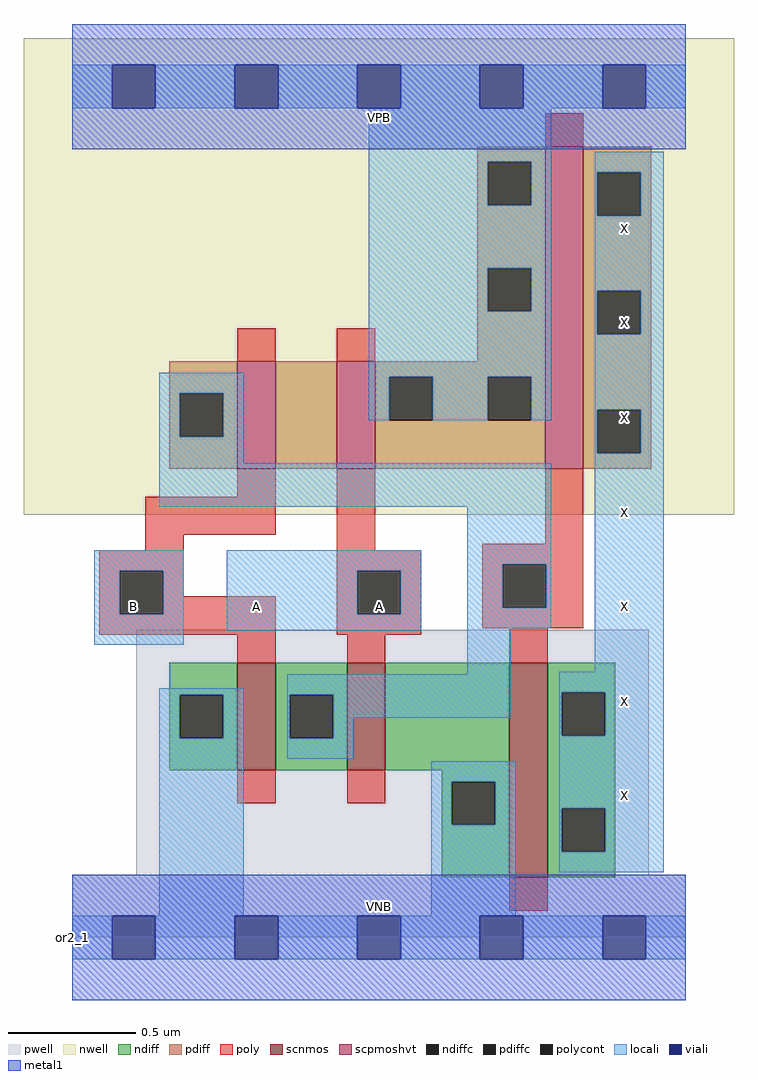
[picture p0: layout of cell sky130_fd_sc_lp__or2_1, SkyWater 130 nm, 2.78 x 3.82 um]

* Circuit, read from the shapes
.subckt sky130_fd_sc_lp__or2_1 A B VGND VNB VPB VPWR X
XM1 n1 B VGND VNB sky130_fd_pr__nfet_01v8 w=0.42 l=0.15
XM2 VGND A n1 VNB sky130_fd_pr__nfet_01v8 w=0.42 l=0.15
XM3 X n1 VGND VNB sky130_fd_pr__nfet_01v8 w=0.84 l=0.15
XM4 n2 B n1 VPB sky130_fd_pr__pfet_01v8_hvt w=0.42 l=0.15
XM5 VPWR A n2 VPB sky130_fd_pr__pfet_01v8_hvt w=0.42 l=0.15
XM6 X n1 VPWR VPB sky130_fd_pr__pfet_01v8_hvt w=1.26 l=0.15
.ends

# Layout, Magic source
magic
tech sky130A
magscale 1 2
<< nwell >>
rect -38 331 518 704
<< pwell >>
rect 50 49 451 241
rect 0 0 480 49
<< scnmos >>
rect 129 131 159 215
rect 215 131 245 215
rect 342 47 372 215
<< scpmoshvt >>
rect 129 367 159 451
rect 207 367 237 451
rect 370 367 400 619
<< ndiff >>
rect 76 190 129 215
rect 76 156 84 190
rect 118 156 129 190
rect 76 131 129 156
rect 159 190 215 215
rect 159 156 170 190
rect 204 156 215 190
rect 159 131 215 156
rect 245 131 342 215
rect 289 122 342 131
rect 289 88 297 122
rect 331 88 342 122
rect 289 47 342 88
rect 372 192 425 215
rect 372 158 383 192
rect 417 158 425 192
rect 372 101 425 158
rect 372 67 383 101
rect 417 67 425 101
rect 372 47 425 67
<< pdiff >>
rect 317 607 370 619
rect 317 573 325 607
rect 359 573 370 607
rect 317 524 370 573
rect 317 490 325 524
rect 359 490 370 524
rect 317 451 370 490
rect 76 426 129 451
rect 76 392 84 426
rect 118 392 129 426
rect 76 367 129 392
rect 159 367 207 451
rect 237 439 370 451
rect 237 405 248 439
rect 282 405 325 439
rect 359 405 370 439
rect 237 367 370 405
rect 400 599 453 619
rect 400 565 411 599
rect 445 565 453 599
rect 400 506 453 565
rect 400 472 411 506
rect 445 472 453 506
rect 400 413 453 472
rect 400 379 411 413
rect 445 379 453 413
rect 400 367 453 379
<< ndiffc >>
rect 84 156 118 190
rect 170 156 204 190
rect 297 88 331 122
rect 383 158 417 192
rect 383 67 417 101
<< pdiffc >>
rect 325 573 359 607
rect 325 490 359 524
rect 84 392 118 426
rect 248 405 282 439
rect 325 405 359 439
rect 411 565 445 599
rect 411 472 445 506
rect 411 379 445 413
<< poly >>
rect 370 619 400 645
rect 129 451 159 477
rect 207 451 237 477
rect 129 345 159 367
rect 57 315 159 345
rect 57 303 87 315
rect 21 287 87 303
rect 21 253 37 287
rect 71 267 87 287
rect 207 303 237 367
rect 370 308 400 367
rect 207 287 273 303
rect 71 253 159 267
rect 21 237 159 253
rect 207 253 223 287
rect 257 253 273 287
rect 207 237 273 253
rect 321 292 400 308
rect 321 258 337 292
rect 371 258 400 292
rect 321 242 400 258
rect 129 215 159 237
rect 215 215 245 237
rect 342 215 372 242
rect 129 105 159 131
rect 215 105 245 131
rect 342 21 372 47
<< polycont >>
rect 37 253 71 287
rect 223 253 257 287
rect 337 258 371 292
<< locali >>
rect 0 649 31 683
rect 65 649 127 683
rect 161 649 223 683
rect 257 649 319 683
rect 353 649 415 683
rect 449 649 480 683
rect 232 607 375 649
rect 232 573 325 607
rect 359 573 375 607
rect 232 524 375 573
rect 232 490 325 524
rect 359 490 375 524
rect 68 426 134 442
rect 68 392 84 426
rect 118 392 134 426
rect 232 439 375 490
rect 232 405 248 439
rect 282 405 325 439
rect 359 405 375 439
rect 409 599 463 615
rect 409 565 411 599
rect 445 565 463 599
rect 409 506 463 565
rect 409 472 411 506
rect 445 472 463 506
rect 409 413 463 472
rect 68 371 134 392
rect 409 379 411 413
rect 445 379 463 413
rect 68 337 375 371
rect 17 287 87 303
rect 17 253 37 287
rect 71 253 87 287
rect 17 229 87 253
rect 121 287 273 303
rect 121 253 223 287
rect 257 253 273 287
rect 121 240 273 253
rect 309 292 375 337
rect 309 258 337 292
rect 371 258 375 292
rect 309 242 375 258
rect 309 206 343 242
rect 409 208 463 379
rect 68 190 134 195
rect 68 156 84 190
rect 118 156 134 190
rect 68 17 134 156
rect 168 190 343 206
rect 168 156 170 190
rect 204 172 343 190
rect 381 192 463 208
rect 204 156 220 172
rect 168 140 220 156
rect 381 158 383 192
rect 417 158 463 192
rect 281 122 347 138
rect 281 88 297 122
rect 331 88 347 122
rect 281 17 347 88
rect 381 101 463 158
rect 381 67 383 101
rect 417 67 463 101
rect 381 51 463 67
rect 0 -17 31 17
rect 65 -17 127 17
rect 161 -17 223 17
rect 257 -17 319 17
rect 353 -17 415 17
rect 449 -17 480 17
<< viali >>
rect 31 649 65 683
rect 127 649 161 683
rect 223 649 257 683
rect 319 649 353 683
rect 415 649 449 683
rect 31 -17 65 17
rect 127 -17 161 17
rect 223 -17 257 17
rect 319 -17 353 17
rect 415 -17 449 17
<< metal1 >>
rect 0 683 480 715
rect 0 649 31 683
rect 65 649 127 683
rect 161 649 223 683
rect 257 649 319 683
rect 353 649 415 683
rect 449 649 480 683
rect 0 617 480 649
rect 0 17 480 49
rect 0 -17 31 17
rect 65 -17 127 17
rect 161 -17 223 17
rect 257 -17 319 17
rect 353 -17 415 17
rect 449 -17 480 17
rect 0 -49 480 -17
<< labels >>
flabel pwell s 0 0 480 49 0 FreeSans 200 0 0 0 VNB
port 4 nsew ground bidirectional
flabel nwell s 0 617 480 666 0 FreeSans 200 0 0 0 VPB
port 5 nsew power bidirectional
rlabel comment s 0 0 0 0 4 or2_1
flabel metal1 s 0 617 480 666 0 FreeSans 340 0 0 0 VPWR
port 6 nsew power bidirectional
flabel metal1 s 0 0 480 49 0 FreeSans 340 0 0 0 VGND
port 3 nsew ground bidirectional
flabel locali s 127 242 161 276 0 FreeSans 340 0 0 0 A
port 1 nsew signal input
flabel locali s 223 242 257 276 0 FreeSans 340 0 0 0 A
port 1 nsew signal input
flabel locali s 415 94 449 128 0 FreeSans 340 0 0 0 X
port 7 nsew signal output
flabel locali s 415 168 449 202 0 FreeSans 340 0 0 0 X
port 7 nsew signal output
flabel locali s 415 242 449 276 0 FreeSans 340 0 0 0 X
port 7 nsew signal output
flabel locali s 415 316 449 350 0 FreeSans 340 0 0 0 X
port 7 nsew signal output
flabel locali s 415 390 449 424 0 FreeSans 340 0 0 0 X
port 7 nsew signal output
flabel locali s 415 464 449 498 0 FreeSans 340 0 0 0 X
port 7 nsew signal output
flabel locali s 415 538 449 572 0 FreeSans 340 0 0 0 X
port 7 nsew signal output
flabel locali s 31 242 65 276 0 FreeSans 340 0 0 0 B
port 2 nsew signal input
<< properties >>
string LEFsite unit
string LEFclass CORE
string FIXED_BBOX 0 0 480 666
string GDS_FILE $PDKPATH/libs.ref/sky130_fd_sc_lp/gds/sky130_fd_sc_lp.gds
string LEFsymmetry X Y R90
string GDS_END 6160806
string GDS_START 6155550
<< end >>
